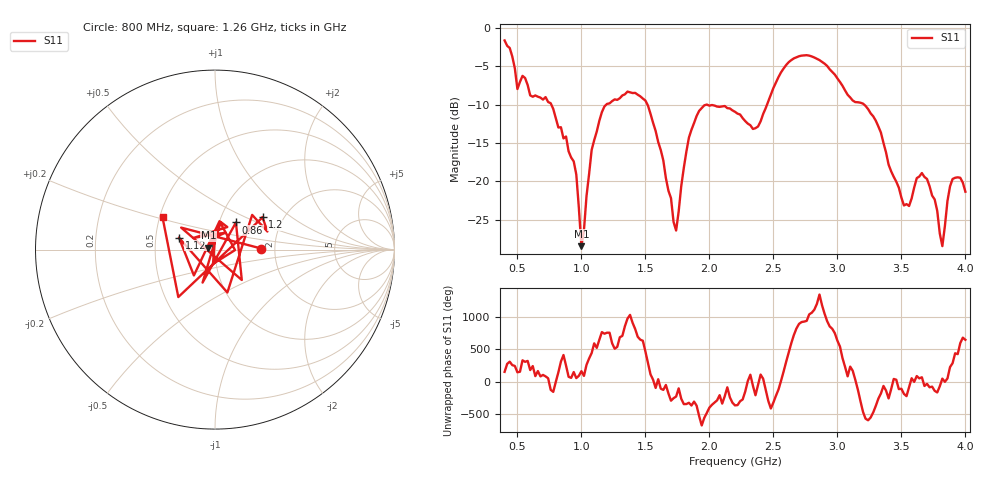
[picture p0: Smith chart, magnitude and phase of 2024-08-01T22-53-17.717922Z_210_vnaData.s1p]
!Created with skrf (http://scikit-rf.org).
# Hz S RI R 50.0
!freq ReS11 ImS11
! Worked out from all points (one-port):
!   181 points, 400 MHz to 4 GHz, reference 50 ohm
!   lowest |S11| = -28.4 dB at 1 GHz (marker M1), VSWR 1.08, Z = 46.5 + j0.955 ohm
!   |S11| at or under -10 dB: 1.517 GHz to 1.974 GHz (456.9 MHz wide, 26.2 % of centre); 1.984 GHz to 2.45 GHz (465.5 MHz wide, 21 % of centre); 3.21 GHz to end of sweep (the widest 3 of 4)
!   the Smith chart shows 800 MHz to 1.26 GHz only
!   S11 on the Smith chart (normalised r, x): 800 MHz: 1.69, +0.02; 860 MHz: 1.20, +0.38; 1.12 GHz: 0.66, +0.09; 1.2 GHz: 1.57, +0.63; 1.26 GHz: 0.52, +0.21
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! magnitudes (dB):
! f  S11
! 400 MHz  -1.6
! 500 MHz  -7.9
! 540 MHz  -6.2
! 800 MHz  -11.8
! 860 MHz  -14.4
! 960 MHz  -19.1
! 1 GHz  -28.4
! 1.08 GHz  -15.9
! 1.12 GHz  -13.5
! 1.2 GHz  -9.9
! 1.26 GHz  -9.3
! 1.3 GHz  -9.1
! 1.5 GHz  -9.4
! 1.74 GHz  -26.4
! 1.76 GHz  -23.9
! 1.84 GHz  -14.3
! 1.92 GHz  -10.8
! 2.2 GHz  -10.9
! 2.38 GHz  -12.8
! 2.66 GHz  -3.9
! 3.1 GHz  -9.0
! 3.3 GHz  -12.1
! 3.56 GHz  -23.2
! 3.62 GHz  -19.6
! 3.7 GHz  -19.7
! 3.82 GHz  -28.4
! 3.9 GHz  -19.7
! 4 GHz  -21.3
